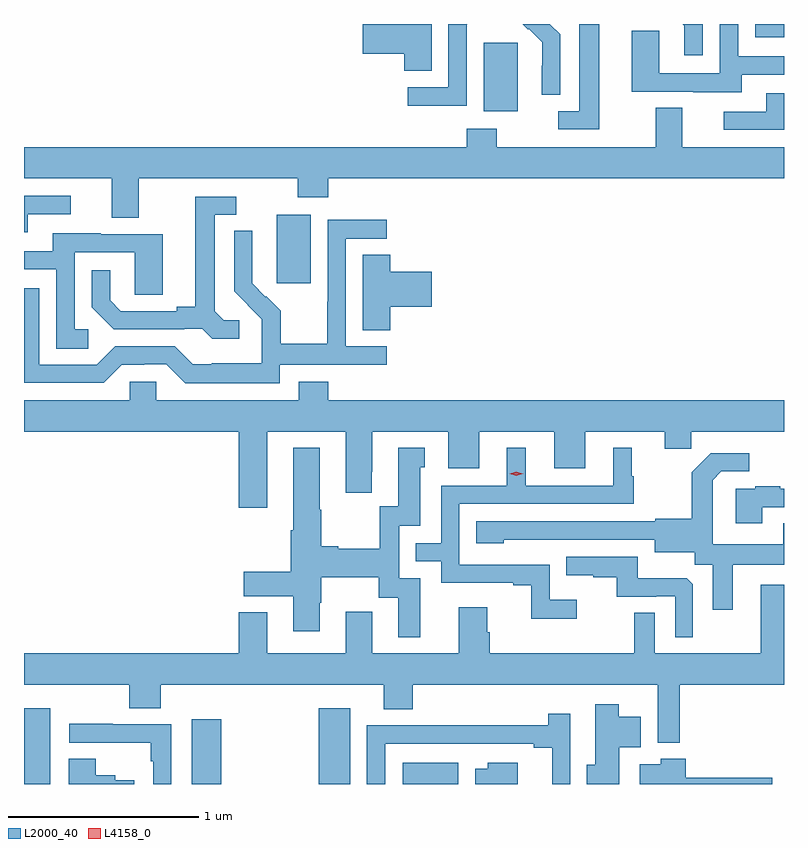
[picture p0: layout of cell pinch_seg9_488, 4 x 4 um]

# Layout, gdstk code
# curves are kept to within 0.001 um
import gdstk
lib = gdstk.Library(unit=1e-6, precision=1e-09)
def R(c, l, rs):  # rectangles x0, y0, x1, y1
    for r in rs: c.add(gdstk.rectangle(r[:2], r[2:], *l))
def P(c, l, *ps):  # polygons
    for p in ps: c.add(gdstk.Polygon(p, *l))
L2000_40 = (2000, 40)
L4158_0 = (4158, 0)

pinch_seg9_488 = lib.new_cell('pinch_seg9_488')
R(pinch_seg9_488, L2000_40, [(311.644,1173.253,311.782,1173.652), (312.527,1173.253,312.683,1173.595), (313.196,1173.253,313.36,1173.652), (313.637,1173.253,313.93,1173.364), (312.974,1175.889,313.153,1176.25), (314.063,1176.794,314.242,1177.155), (315.492,1177.182,315.644,1177.253)])
P(pinch_seg9_488, L2000_40, [(313.789,1177.253),(313.428,1177.253),(313.428,1177.097),(313.646,1177.097),(313.646,1177.006),(313.789,1177.006)],
  [(314.466,1177.198),(314.411,1177.253),(314.269,1177.253),(314.298,1177.224),(314.301,1177.227),(314.372,1177.157),(314.372,1177.034),(314.37,1177.034),(314.37,1176.88),(314.466,1176.88)],
  [(313.974,1177.252),(313.977,1177.252),(313.977,1177.253),(313.878,1177.253),(313.878,1176.921),(313.665,1176.921),(313.665,1176.823),(313.974,1176.823)],
  [(315.421,1176.987),(315.644,1176.987),(315.644,1177.083),(315.402,1177.083),(315.402,1177.253),(315.306,1177.253),(315.306,1176.993),(314.988,1176.993),(314.988,1177.217),(314.843,1177.217),(314.843,1176.897),(315.167,1176.897),(315.167,1176.893),(315.421,1176.893)],
  [(315.216,1177.253),(315.111,1177.253),(315.119,1177.245),(315.119,1177.089),(315.216,1177.089)],
  [(314.671,1177.253),(314.567,1177.253),(314.567,1176.795),(314.457,1176.795),(314.457,1176.699),(314.671,1176.699)],
  [(315.644,1176.888),(315.551,1176.888),(315.551,1176.792),(315.327,1176.792),(315.327,1176.696),(315.644,1176.696)],
  [(312.247,1176.44),(313.084,1176.44),(313.084,1176.341),(313.244,1176.341),(313.244,1176.44),(315.644,1176.44),(315.644,1176.604),(315.109,1176.604),(315.109,1176.812),(314.969,1176.812),(314.969,1176.604),(314.133,1176.604),(314.133,1176.703),(313.973,1176.703),(313.973,1176.604),(311.644,1176.604),(311.644,1176.44),(312.107,1176.44),(312.107,1176.232),(312.247,1176.232)],
  [(311.665,1176.252),(311.89,1176.252),(311.89,1176.348),(311.644,1176.348),(311.644,1176.156),(311.665,1176.156)],
  [(312.778,1175.694),(312.696,1175.694),(312.649,1175.741),(312.649,1176.249),(312.76,1176.249),(312.76,1176.345),(312.545,1176.345),(312.545,1175.765),(312.449,1175.765),(312.449,1175.742),(312.154,1175.742),(312.097,1175.799),(312.097,1175.956),(312,1175.956),(312,1175.762),(312.116,1175.646),(312.488,1175.646),(312.488,1175.649),(312.582,1175.649),(312.634,1175.597),(312.778,1175.597)],
  [(312.99,1175.46),(313.552,1175.46),(313.552,1175.556),(313.338,1175.556),(313.338,1176.123),(313.552,1176.123),(313.552,1176.222),(313.242,1176.222),(313.242,1175.792),(313.24,1175.792),(313.24,1175.569),(312.995,1175.569),(312.995,1175.743),(312.918,1175.82),(312.915,1175.817),(312.845,1175.888),(312.846,1176.164),(312.75,1176.164),(312.75,1175.846),(312.896,1175.698),(312.896,1175.601),(312.894,1175.601),(312.894,1175.467),(312.631,1175.467),(312.631,1175.463),(312.531,1175.463),(312.438,1175.556),(312.123,1175.556),(312.027,1175.46),(311.724,1175.46),(311.724,1175.862),(311.644,1175.862),(311.644,1175.364),(312.063,1175.364),(312.159,1175.46),(312.278,1175.46),(312.278,1175.463),(312.393,1175.463),(312.493,1175.363),(312.99,1175.363)],
  [(311.983,1175.646),(311.91,1175.646),(311.91,1176.051),(312.228,1176.051),(312.228,1175.827),(312.373,1175.827),(312.373,1176.147),(312.049,1176.147),(312.049,1176.151),(311.795,1176.151),(311.795,1176.057),(311.644,1176.057),(311.644,1175.961),(311.814,1175.961),(311.814,1175.545),(311.983,1175.545)],
  [(313.571,1175.765),(313.789,1175.765),(313.789,1175.948),(313.571,1175.948),(313.571,1176.038),(313.427,1176.038),(313.427,1175.641),(313.571,1175.641)],
  [(312.925,1175.108),(313.337,1175.108),(313.337,1174.785),(313.474,1174.785),(313.474,1174.897),(313.477,1174.897),(313.477,1175.108),(313.877,1175.108),(313.877,1174.914),(314.041,1174.914),(314.041,1175.108),(314.435,1175.108),(314.435,1174.914),(314.599,1174.914),(314.599,1175.108),(315.017,1175.108),(315.017,1175.018),(315.155,1175.018),(315.155,1175.108),(315.644,1175.108),(315.644,1175.272),(313.244,1175.272),(313.244,1175.371),(313.091,1175.371),(313.091,1175.272),(312.339,1175.272),(312.339,1175.37),(312.201,1175.37),(312.201,1175.272),(311.644,1175.272),(311.644,1175.108),(312.773,1175.108),(312.773,1174.707),(312.925,1174.707)],
  [(314.554,1174.222),(314.412,1174.222),(314.412,1174.407),(313.935,1174.407),(313.935,1174.728),(314.854,1174.728),(314.854,1174.872),(314.842,1174.872),(314.842,1175.023),(314.744,1175.023),(314.744,1174.824),(314.284,1174.824),(314.284,1175.023),(314.186,1175.023),(314.186,1174.824),(313.839,1174.824),(313.839,1174.521),(313.705,1174.521),(313.705,1174.425),(313.839,1174.425),(313.839,1174.311),(314.219,1174.311),(314.219,1174.299),(314.314,1174.299),(314.314,1174.124),(314.554,1174.124)],
  [(313.729,1174.335),(313.62,1174.335),(313.62,1174.611),(313.729,1174.611),(313.729,1174.92),(313.753,1174.92),(313.753,1175.023),(313.613,1175.023),(313.613,1174.716),(313.517,1174.716),(313.517,1174.492),(313.297,1174.492),(313.297,1174.505),(313.209,1174.505),(313.209,1174.697),(313.201,1174.697),(313.201,1175.023),(313.061,1175.023),(313.061,1174.588),(313.049,1174.588),(313.049,1174.371),(312.801,1174.371),(312.801,1174.241),(313.061,1174.241),(313.061,1174.056),(313.201,1174.056),(313.201,1174.206),(313.209,1174.206),(313.209,1174.34),(313.512,1174.34),(313.512,1174.234),(313.613,1174.234),(313.613,1174.026),(313.729,1174.026)],
  [(315.373,1174.406),(315.644,1174.406),(315.644,1174.625),(315.641,1174.625),(315.641,1174.516),(315.27,1174.516),(315.27,1174.757),(315.268,1174.757),(315.268,1174.852),(315.315,1174.899),(315.46,1174.899),(315.46,1174.993),(315.259,1174.993),(315.159,1174.893),(315.159,1174.648),(314.967,1174.648),(314.967,1174.635),(314.025,1174.635),(314.025,1174.52),(314.169,1174.52),(314.169,1174.538),(314.963,1174.539),(314.963,1174.472),(315.174,1174.472),(315.174,1174.408),(315.269,1174.408),(315.269,1174.17),(315.373,1174.17)],
  [(315.529,1174.71),(315.644,1174.71),(315.644,1174.808),(315.625,1174.808),(315.625,1174.819),(315.493,1174.819),(315.493,1174.806),(315.389,1174.806),(315.389,1174.626),(315.529,1174.626)],
  [(315.165,1174.305),(315.133,1174.337),(314.875,1174.337),(314.875,1174.449),(314.497,1174.449),(314.497,1174.352),(314.641,1174.352),(314.641,1174.341),(314.765,1174.341),(314.765,1174.239),(314.972,1174.239),(314.972,1174.242),(315.072,1174.242),(315.072,1174.025),(315.165,1174.025)],
  [(315.095,1173.776),(315.644,1173.776),(315.644,1174.303),(315.521,1174.303),(315.521,1173.94),(314.964,1173.94),(314.964,1174.154),(314.856,1174.154),(314.856,1173.94),(314.096,1173.94),(314.096,1174.053),(314.083,1174.053),(314.083,1174.183),(313.931,1174.183),(313.931,1173.94),(313.477,1173.94),(313.477,1174.159),(313.337,1174.159),(313.337,1173.94),(312.925,1173.94),(312.925,1174.156),(312.773,1174.156),(312.773,1173.94),(311.644,1173.94),(311.644,1173.776),(312.199,1173.776),(312.199,1173.652),(312.365,1173.652),(312.365,1173.776),(313.538,1173.776),(313.538,1173.646),(313.691,1173.646),(313.691,1173.776),(314.979,1173.776),(314.979,1173.47),(315.095,1173.47)],
  [(314.776,1173.446),(314.89,1173.446),(314.89,1173.607),(314.773,1173.607),(314.773,1173.673),(314.651,1173.673),(314.651,1173.354),(314.605,1173.354),(314.605,1173.253),(314.776,1173.253)],
  [(313.545,1173.465),(314.327,1173.465),(314.327,1173.445),(314.423,1173.445),(314.423,1173.253),(314.52,1173.253),(314.52,1173.622),(314.404,1173.622),(314.404,1173.563),(313.774,1173.563),(313.774,1173.561),(313.449,1173.561),(313.449,1173.253),(313.545,1173.253)],
  [(312.42,1173.567),(312.11,1173.567),(312.11,1173.569),(311.883,1173.569),(311.883,1173.471),(312.123,1173.471),(312.123,1173.47),(312.312,1173.47),(312.312,1173.374),(312.324,1173.374),(312.324,1173.253),(312.42,1173.253)],
  [(312.223,1173.274),(312.123,1173.274),(312.123,1173.298),(312.021,1173.298),(312.021,1173.386),(311.879,1173.386),(311.879,1173.253),(312.223,1173.253)],
  [(315.583,1173.287),(315.128,1173.287),(315.128,1173.385),(314.994,1173.385),(314.994,1173.358),(314.885,1173.358),(314.885,1173.253),(315.583,1173.253)],
  [(314.242,1173.364),(314.084,1173.364),(314.084,1173.334),(314.018,1173.334),(314.018,1173.253),(314.242,1173.253)])
P(pinch_seg9_488, L4158_0, [(314.235,1174.876),(314.2,1174.886),(314.199,1174.886),(314.2,1174.886),(314.235,1174.896),(314.27,1174.886),(314.271,1174.886),(314.27,1174.886)])

lib.write_gds('pinch_seg9_488.gds')
